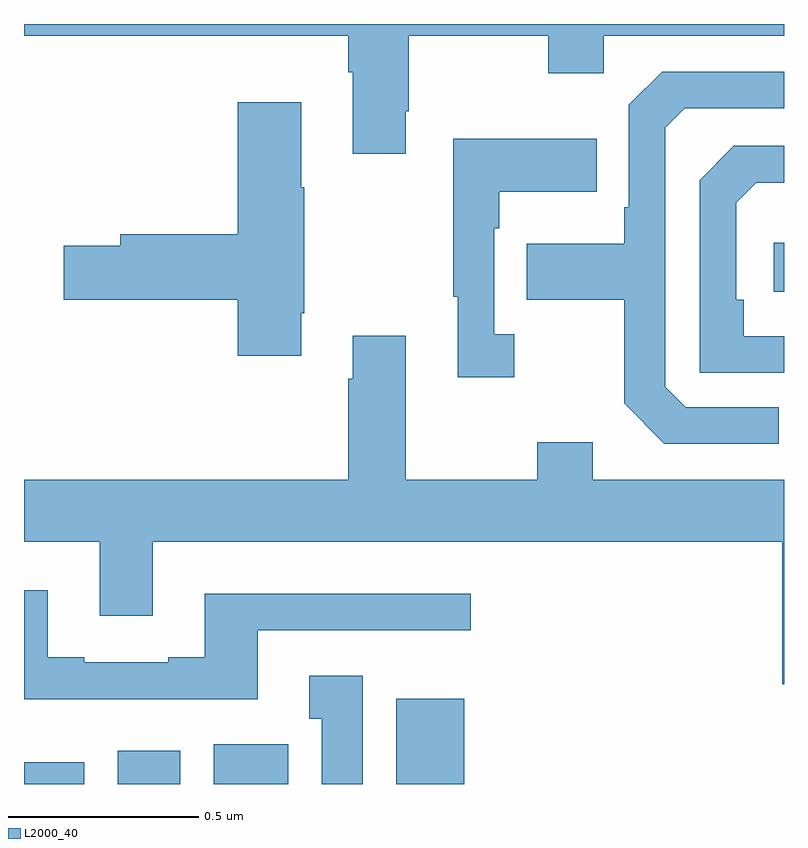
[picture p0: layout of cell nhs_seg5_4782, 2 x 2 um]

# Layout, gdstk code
import gdstk
lib = gdstk.Library(unit=1e-6, precision=1e-09)
def R(c, l, rs):  # rectangles x0, y0, x1, y1
    for r in rs: c.add(gdstk.rectangle(r[:2], r[2:], *l))
def P(c, l, *ps):  # polygons
    for p in ps: c.add(gdstk.Polygon(p, *l))
L2000_40 = (2000, 40)

nhs_seg5_4782 = lib.new_cell('nhs_seg5_4782')
R(nhs_seg5_4782, L2000_40, [(175,846.799,175.159,846.856), (175.247,846.799,175.411,846.886), (175.499,846.799,175.696,846.904), (175.979,846.799,176.158,847.024), (176.973,848.094,177,848.224)])
P(nhs_seg5_4782, L2000_40, [(175,848.768),(175.853,848.768),(175.853,848.672),(175.865,848.672),(175.865,848.457),(176.005,848.457),(176.005,848.569),(176.013,848.569),(176.013,848.768),(176.38,848.768),(176.38,848.669),(176.526,848.669),(176.526,848.768),(177,848.768),(177,848.799),(175,848.799)],
  [(176.986,847.791),(176.742,847.791),(176.688,847.845),(176.688,848.526),(176.739,848.577),(177,848.577),(177,848.673),(176.679,848.673),(176.592,848.586),(176.592,848.317),(176.58,848.317),(176.58,848.221),(176.323,848.221),(176.323,848.074),(176.58,848.074),(176.58,847.801),(176.685,847.695),(176.986,847.695)],
  [(175.729,848.038),(175.737,848.038),(175.737,848.369),(175.729,848.369),(175.729,848.593),(175.562,848.593),(175.562,848.246),(175.253,848.246),(175.253,848.216),(175.104,848.216),(175.104,848.074),(175.562,848.074),(175.562,847.926),(175.729,847.926)],
  [(176.29,847.982),(176.238,847.982),(176.238,848.261),(176.251,848.261),(176.251,848.357),(176.507,848.357),(176.507,848.497),(176.13,848.497),(176.13,848.081),(176.141,848.081),(176.141,847.869),(176.29,847.869)],
  [(177,847.977),(176.894,847.977),(176.894,848.074),(176.874,848.074),(176.874,848.328),(176.927,848.381),(177,848.381),(177,848.478),(176.868,848.478),(176.778,848.388),(176.778,847.881),(177,847.881)],
  [(177,847.6),(176.497,847.6),(176.497,847.699),(176.35,847.699),(176.35,847.6),(176.005,847.6),(176.005,847.978),(175.865,847.978),(175.865,847.865),(175.853,847.865),(175.853,847.6),(175,847.6),(175,847.436),(175.199,847.436),(175.199,847.242),(175.339,847.242),(175.339,847.436),(176.996,847.436),(176.996,847.062),(177,847.062)],
  [(175.615,847.203),(176.176,847.203),(176.176,847.3),(175.475,847.3),(175.475,847.132),(175.379,847.132),(175.379,847.119),(175.159,847.119),(175.159,847.132),(175.063,847.132),(175.063,847.309),(175,847.309),(175,847.022),(175.615,847.022)],
  [(175.891,847.084),(175.751,847.084),(175.751,846.971),(175.784,846.971),(175.784,846.799),(175.891,846.799)])

lib.write_gds('nhs_seg5_4782.gds')
